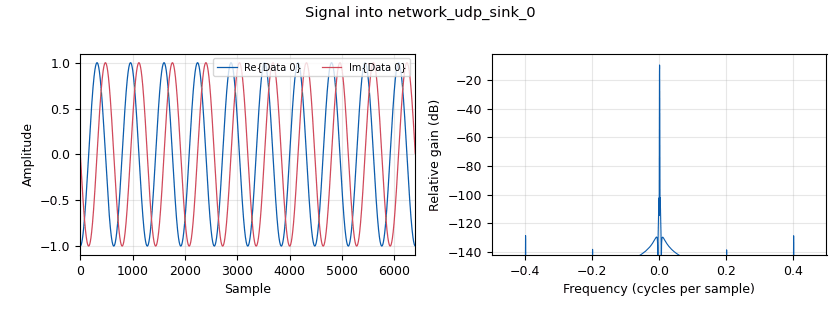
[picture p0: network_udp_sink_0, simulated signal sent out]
options:
  parameters:
    author: Robin Ekman
    generate_options: qt_gui
    generator_class_name: PythonQtGuiGenerator
    generator_module: gnuradio.grc.workflows.python_qt_gui
    id: test_udp_source_multicast
    output_language: python
    title: UDP Multicast Demo
  states: {}

blocks:
- name: packet_len
  id: variable
  parameters:
    value: '1024'
  states: {}
- name: samp_rate
  id: variable
  parameters:
    value: '32000'
  states: {}
- name: address
  id: parameter
  parameters:
    label: Host address
    type: str
    value: 239.0.0.10
  states: {}
- name: analog_sig_source_x_0
  id: analog_sig_source_x
  parameters:
    amp: '1'
    freq: '50'
    offset: '0'
    phase: '0'
    samp_rate: samp_rate
    type: complex
    waveform: analog.GR_COS_WAVE
  states: {}
- name: blocks_throttle2_0
  id: blocks_throttle2
  parameters:
    samples_per_second: samp_rate
    type: complex
  states: {}
- name: network_udp_sink_0
  id: network_udp_sink
  parameters:
    addr: address
    header: '0'
    payloadsize: packet_len
    port: port
    send_eof: 'False'
    type: complex
  states: {}
- name: network_udp_source_0
  id: network_udp_source
  parameters:
    addr: address
    header: '0'
    ipv6: 'False'
    notify_missed: 'False'
    payloadsize: packet_len
    port: port
    src_zeros: 'False'
    type: complex
  states: {}
- name: port
  id: parameter
  parameters:
    label: Port
    type: intx
    value: '50500'
  states: {}
- name: qtgui_time_sink_x_0
  id: qtgui_time_sink_x
  parameters:
    size: '1024'
    srate: samp_rate
    type: complex
  states: {}

connections:
- [analog_sig_source_x_0, '0', blocks_throttle2_0, '0']
- [blocks_throttle2_0, '0', network_udp_sink_0, '0']
- [network_udp_source_0, '0', qtgui_time_sink_x_0, '0']

metadata:
  file_format: 1
  grc_version: v3.11.0.0git-945-g959da132
